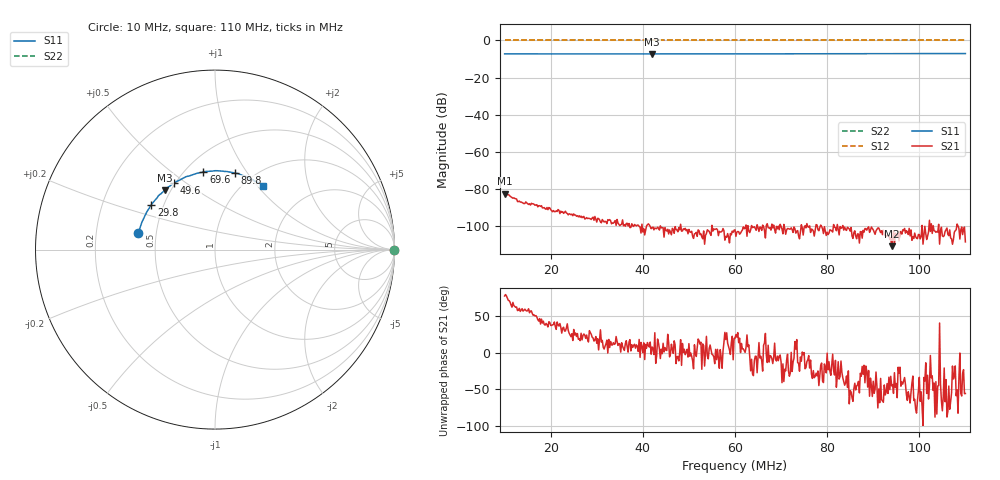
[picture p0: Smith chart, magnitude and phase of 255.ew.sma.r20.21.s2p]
! Anritsu VNA Master:  Model: MS2036C/10/77
! SN:  1601066
! /card0/usr/255.ew.sma.r20.21.s2p
! Existing Calibration Information:
! TYPE:  Current Settings,  Active Cal Settings
! TIME:  12/19/2017 06:19:25 PM,  12/19/2017 06:04:41 PM
! INTERNAL TEMP:  41.3 C,  39.8 C
! # POINTS:  501,  501
! START FREQ:  10.000 MHz,  10.000 MHz
! STOP FREQ:  110.000 MHz,  110.000 MHz
! SOURCE POWER:  High,  High
! IFBW:  100 Hz,  100 Hz
! AVG FACTOR:  1 ,  1
! REF PLANE 1:  0 mm,  0 mm
! REF PLANE 2:  0 mm,  0 mm
! CAL TYPE:  Full S11,  Full S11
! CAL METHOD:  SOLT,  SOLT
! CAL LINE TYPE:  Coax,  Coax
! DUT PORT 1:  N-Conn(F),  N-Conn(F)
! DUT PORT 2:  K-Conn(F),  K-Conn(F)
! CAL STATUS:  OK: Accuracy High,  --
# GHZ S DB R 50.0
! FREQ.GHZ  S11DB  S11A  S21DB  S21A  S12DB  S12A  S22DB  S22A
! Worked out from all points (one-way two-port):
!   501 points, 10 MHz to 110 MHz, reference 50 ohm
!   highest |S21| = -82.63 dB at 10 MHz (marker M1); lowest = -110.8 dB at 94 MHz (marker M2)
!   lowest |S11| = -7.3 dB at 42 MHz (marker M3), VSWR 2.52, Z = 23.3 + j19 ohm
!   |S11| at or under -10 dB: nowhere
!   |S22| runs from 0.0 to 0.0 dB; largest |S21 - S12| = 1
!   S11 on the Smith chart (normalised r, x): 10 MHz: 0.40, +0.09; 29.8 MHz: 0.43, +0.26; 49.6 MHz: 0.49, +0.45; 69.6 MHz: 0.61, +0.66; 89.8 MHz: 0.83, +0.88; 110 MHz: 1.21, +1.07
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0.01  -7.21 167.9  -82.63 76.8  0.00 0.0  0.00 0.0
0.0176  -7.23 158.9  -89.02 46.1  0.00 0.0  0.00 0.0
0.0268  -7.27 148.0  -95.48 17.1  0.00 0.0  0.00 0.0
0.0298  -7.24 144.7  -96.27 21.7  0.00 0.0  0.00 0.0
0.0374  -7.24 135.8  -100.71 2.1  0.00 0.0  0.00 0.0
0.042  -7.29 130.1  -100.90 7.6  0.00 0.0  0.00 0.0
0.0434  -7.23 128.3  -101.11 12.8  0.00 0.0  0.00 0.0
0.0496  -7.25 121.5  -101.91 4.4  0.00 0.0  0.00 0.0
0.0556  -7.21 114.5  -101.87 -15.1  0.00 0.0  0.00 0.0
0.06  -7.22 109.9  -102.05 19.3  0.00 0.0  0.00 0.0
0.0652  -7.19 103.6  -102.92 13.5  0.00 0.0  0.00 0.0
0.0696  -7.17 98.5  -101.99 -4.9  0.00 0.0  0.00 0.0
0.0736  -7.18 94.3  -102.43 -13.8  0.00 0.0  0.00 0.0
0.0768  -7.16 90.3  -101.87 -35.2  0.00 0.0  0.00 0.0
0.0846  -7.13 81.7  -101.10 -24.9  0.00 0.0  0.00 0.0
0.0898  -7.12 75.7  -101.26 -59.7  0.00 0.0  0.00 0.0
0.0934  -7.10 72.0  -105.31 -33.5  0.00 0.0  0.00 0.0
0.094  -7.12 71.2  -110.84 -45.3  0.00 0.0  0.00 0.0
0.0976  -7.07 66.9  -104.54 -53.3  0.00 0.0  0.00 0.0
0.0998  -7.04 64.8  -104.53 -52.1  0.00 0.0  0.00 0.0
0.106  -7.05 57.7  -101.06 -87.6  0.00 0.0  0.00 0.0
0.11  -7.05 53.3  -108.53 -55.7  0.00 0.0  0.00 0.0
